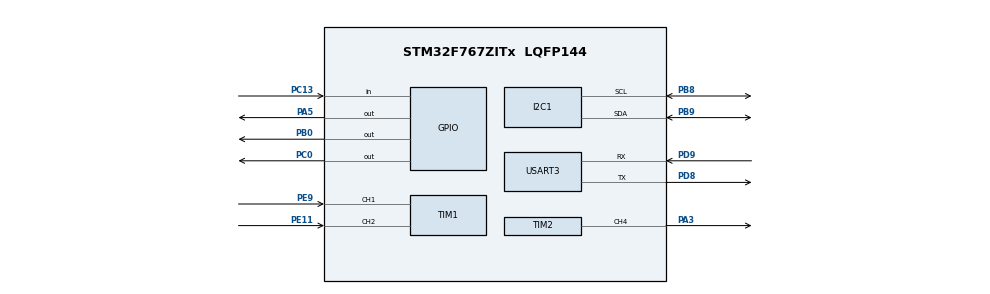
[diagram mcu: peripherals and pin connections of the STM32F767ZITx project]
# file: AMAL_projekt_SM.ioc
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Mcu.Family=STM32F7
Mcu.Name=STM32F767ZITx
Mcu.Package=LQFP144
NVIC.PriorityGroup=NVIC_PRIORITYGROUP_4
NVIC.USART3_IRQn=true\:0\:0\:false\:false\:true\:true\:true
PA3.Signal=S_TIM2_CH4
PA5.Signal=GPIO_Output
PB0.Signal=GPIO_Output
PB8.Mode=I2C
PB8.Signal=I2C1_SCL
PB9.Mode=I2C
PB9.Signal=I2C1_SDA
PC0.Signal=GPIO_Output
PC13.Signal=GPIO_Input
PD8.Mode=Asynchronous
PD8.Signal=USART3_TX
PD9.Mode=Asynchronous
PD9.Signal=USART3_RX
PE11.GPIO_PuPd=GPIO_PULLUP
PE11.Signal=S_TIM1_CH2
PE9.GPIO_PuPd=GPIO_PULLUP
PE9.Signal=S_TIM1_CH1
ProjectManager.HeapSize=0x200
ProjectManager.StackSize=0x400
ProjectManager.TargetToolchain=STM32CubeIDE
RCC.HSE_VALUE=25000000
RCC.HSI_VALUE=16000000
RCC.LSE_VALUE=32768
RCC.USBFreq_Value=96000000
RCC.VCOOutputFreq_Value=192000000
SH.S_TIM1_CH1.0=TIM1_CH1,Encoder_Interface
SH.S_TIM1_CH2.0=TIM1_CH2,Encoder_Interface
SH.S_TIM2_CH4.0=TIM2_CH4,PWM Generation4 CH4
TIM1.EncoderMode=TIM_ENCODERMODE_TI12
TIM1.IC1Filter=4
TIM1.IC2Filter=4
TIM2.Channel-PWM\ Generation4\ CH4=TIM_CHANNEL_4
TIM2.Period=30000
USART3.VirtualMode-Asynchronous=VM_ASYNC
board=custom

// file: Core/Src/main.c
/* USER CODE BEGIN Header */
/**
  ******************************************************************************
  * @file           : main.c
  * @brief          : Main program body
  ******************************************************************************
  * @attention
  *
  * Copyright (c) 2026 STMicroelectronics.
  * All rights reserved.
  *
  * This software is licensed under terms that can be found in the LICENSE file
  * in the root directory of this software component.
  * If no LICENSE file comes with this software, it is provided AS-IS.
  *
  ******************************************************************************
  */
/* USER CODE END Header */
#include "main.h"

/* USER CODE BEGIN Includes */

#include "BMPXX80.h" // I2C
#include "i2c-lcd.h"

/* USER CODE END Includes */

/* USER CODE BEGIN PD */

#define ENC_DIV 4

/* USER CODE END PD */

/* USER CODE BEGIN PM */
#define COUNTOF(_BUFFER_) (sizeof(_BUFFER_) / sizeof(*(_BUFFER_)))

/* USER CODE END PM */

I2C_HandleTypeDef hi2c1;

TIM_HandleTypeDef htim1;
TIM_HandleTypeDef htim2;

UART_HandleTypeDef huart3;

/* USER CODE BEGIN PV */

// Temp zadana
volatile int setpoint_C = 20;

// Czujnik BMP280
float temperature;
int32_t pressure;

// UART
uint8_t rxByte;

#define RX_LINE_MAX 64
char rxLine[RX_LINE_MAX];
volatile uint16_t rxLen = 0;
volatile uint8_t lineReady = 0;

// PWM i sterowanie
float time_s = 0;
float u = 0.0f; // Wymuszenie u (sygnał PWM)
volatile uint16_t duty_pwm = 0; // Wypełnienie pwm w promilach

const float Ts = 0.5f; // HAL_Delay(500)
float Kp = 0.29304f;
// float Ki = 0.0010465f;
float Ki = 0.0035f;
float Kd = 0;

float ui = 0.0f; // integrator
float e = 0.0f;	// do logowania

// User Button i wentylator
uint8_t fan = 0;
uint8_t btn_prev = 1;

// Enkoder
static int32_t enc_prev = 32768;
static int32_t enc_accum = 0;
int32_t enc_now = 0;
int32_t delta = 0;

/* USER CODE END PV */

void SystemClock_Config(void);
static void MX_GPIO_Init(void);
static void MX_I2C1_Init(void);
static void MX_USART3_UART_Init(void);
static void MX_TIM2_Init(void);
static void MX_TIM1_Init(void);

/* USER CODE BEGIN 0 */

static void PWM_SetPermille(uint16_t d)
{
    if (d > 1000) d = 1000;
    duty_pwm = d;
    u = duty_pwm / 1000.0f;  // aktualizacja u(t) do logowania

    uint32_t arr = __HAL_TIM_GET_AUTORELOAD(&htim2);  // u Ciebie 30000
    uint32_t ccr = (arr * duty_pwm) / 1000;          // np. 27000 dla 90%
    __HAL_TIM_SET_COMPARE(&htim2, TIM_CHANNEL_4, ccr);
}

static float clampf(float x, float lo, float hi)
{
    if (x < lo) return lo;
    if (x > hi) return hi;
    return x;
}

static inline int32_t clamp_i32(int32_t v, int32_t lo, int32_t hi)
{
  if (v < lo) return lo;
  if (v > hi) return hi;
  return v;
}

/* USER CODE END 0 */

int main(void)
{

  /* MCU Configuration--------------------------------------------------------*/

  /* Reset of all peripherals, Initializes the Flash interface and the Systick. */
  HAL_Init();

  /* Configure the system clock */
  SystemClock_Config();

  /* Initialize all configured peripherals */
  MX_GPIO_Init();
  MX_I2C1_Init();
  MX_USART3_UART_Init();
  MX_TIM2_Init();
  MX_TIM1_Init();
  /* USER CODE BEGIN 2 */

  BMP280_Init(&hi2c1, BMP280_TEMPERATURE_16BIT, BMP280_STANDARD, BMP280_FORCEDMODE);
  HAL_UART_Receive_IT(&huart3, &rxByte, 1);
  HAL_TIM_PWM_Start(&htim2, TIM_CHANNEL_4);
  PWM_SetPermille(0);
  HAL_GPIO_WritePin(GPIOC, GPIO_PIN_0, GPIO_PIN_RESET);
  HAL_TIM_Encoder_Start(&htim1, TIM_CHANNEL_ALL);

  /* USER CODE END 2 */

  /* Infinite loop */
  while (1)
  {

    /* USER CODE BEGIN 3 */

	  // ##### COM Receive #####
	  if (lineReady)
	  {
	      lineReady = 0;
	      int val;
	      if (sscanf(rxLine, "%d", &val) == 1)
	      {
	          if (val >= 20 && val <= 40)
	          {
	              setpoint_C = val;
	              ui = 0.0f; // reset całki
	              char ok[32];
	              int n = snprintf(ok, sizeof(ok), "OK SP=%d\r\n", setpoint_C);
	              HAL_UART_Transmit(&huart3, (uint8_t*)ok, n, 100);
	          }
	          // Wartość zadana z poza zakresu
	          else
	          {
	              const char *err = "ERROR: range 20..40\r\n";
	              HAL_UART_Transmit(&huart3, (uint8_t*)err, strlen(err), 100);
	          }
	      }
	      // Przesłane coś innego niż liczba
	      else
	      {
	          const char *err = "ERROR: send number\r\n";
	          HAL_UART_Transmit(&huart3, (uint8_t*)err, strlen(err), 100);
	      }

	      // reset bufora na następną linię
	      rxLen = 0;
	      rxLine[0] = '\0';
	  }

	  // ##### COM  Transmit  + PID #####
	  temperature = BMP280_ReadTemperature();

	  float ref = (float)setpoint_C;
	  e = ref - temperature;

	  // P
	  float up = Kp * e;

	  // I (kandydat)
	  float ui_candidate = ui + (Ki * Ts) * e;

	  // suma
	  float u_unsat = up + ui_candidate;
	  float u_sat = clampf(u_unsat, 0.0f, 1.0f);

	  // anty-windup
	  uint8_t saturated = (u_sat != u_unsat);
	  if (!saturated) {
	      ui = ui_candidate;
	  } else {
	      if (!((u_sat >= 1.0f && e > 0.0f) || (u_sat <= 0.0f && e < 0.0f))) {
	          ui = ui_candidate;
	      }
	  }
	  PWM_SetPermille((uint16_t)(u_sat * 1000.0f));	  // ustaw PWM

	  char msg[80];
	  int len = snprintf(msg, sizeof(msg),
	                     "%.1f,%.3f,%.2f,%d,%.2f\r\n",
	                     time_s, u, temperature, setpoint_C, e);
	  HAL_UART_Transmit(&huart3, (uint8_t*)msg, len, 100);

	  // #### FAN + USER BUTTON #####
	  uint8_t btn = HAL_GPIO_ReadPin(GPIOC, GPIO_PIN_13);

	  if (btn_prev == 1 && btn == 0)   // zbocze: puszczony → wciśnięty
	  {
	      fan ^= 1;
	      HAL_GPIO_WritePin(GPIOC, GPIO_PIN_0,
	                            fan ? GPIO_PIN_SET : GPIO_PIN_RESET);
	      HAL_Delay(50);
	  }
	  btn_prev = btn;

	  // #### ENKODER #####
	  enc_now = (int32_t)__HAL_TIM_GET_COUNTER(&htim1);
	  delta   = enc_now - enc_prev;

	  if (delta >  32767) delta -= 65536;
	  if (delta < -32768) delta += 65536;

	  enc_prev = enc_now;
	  enc_accum += delta;

	  while (enc_accum >= ENC_DIV) { setpoint_C++; enc_accum -= ENC_DIV; }
	  while (enc_accum <= -ENC_DIV) { setpoint_C--; enc_accum += ENC_DIV; }

	  setpoint_C = clamp_i32(setpoint_C, 20, 40);

	  // ##### Próbkowanie 0,5s #####
	  HAL_Delay(500);
	  time_s += 0.5f;

	  // ##### Ustawienie skoku u(t)*0,9 to zrobienia modelu #####
	  /*if (time_s >= 15.0f && duty_pwm == 0)
	  {
	      PWM_SetPermille(900);  // 90%
	  }*/

  }
  /* USER CODE END 3 */
}

void SystemClock_Config(void)
{
  RCC_OscInitTypeDef RCC_OscInitStruct = {0};
  RCC_ClkInitTypeDef RCC_ClkInitStruct = {0};

  /** Configure the main internal regulator output voltage
  */
  __HAL_RCC_PWR_CLK_ENABLE();
  __HAL_PWR_VOLTAGESCALING_CONFIG(PWR_REGULATOR_VOLTAGE_SCALE3);
  /** Initializes the RCC Oscillators according to the specified parameters
  * in the RCC_OscInitTypeDef structure.
  */
  RCC_OscInitStruct.OscillatorType = RCC_OSCILLATORTYPE_HSI;
  RCC_OscInitStruct.HSIState = RCC_HSI_ON;
  RCC_OscInitStruct.HSICalibrationValue = RCC_HSICALIBRATION_DEFAULT;
  RCC_OscInitStruct.PLL.PLLState = RCC_PLL_NONE;
  if (HAL_RCC_OscConfig(&RCC_OscInitStruct) != HAL_OK)
  {
    Error_Handler();
  }
  /** Initializes the CPU, AHB and APB buses clocks
  */
  RCC_ClkInitStruct.ClockType = RCC_CLOCKTYPE_HCLK|RCC_CLOCKTYPE_SYSCLK
                              |RCC_CLOCKTYPE_PCLK1|RCC_CLOCKTYPE_PCLK2;
  RCC_ClkInitStruct.SYSCLKSource = RCC_SYSCLKSOURCE_HSI;
  RCC_ClkInitStruct.AHBCLKDivider = RCC_SYSCLK_DIV1;
  RCC_ClkInitStruct.APB1CLKDivider = RCC_HCLK_DIV1;
  RCC_ClkInitStruct.APB2CLKDivider = RCC_HCLK_DIV1;

  if (HAL_RCC_ClockConfig(&RCC_ClkInitStruct, FLASH_LATENCY_0) != HAL_OK)
  {
    Error_Handler();
  }
}

static void MX_I2C1_Init(void)
{

  hi2c1.Instance = I2C1;
  hi2c1.Init.Timing = 0x00303D5B;
  hi2c1.Init.OwnAddress1 = 0;
  hi2c1.Init.AddressingMode = I2C_ADDRESSINGMODE_7BIT;
  hi2c1.Init.DualAddressMode = I2C_DUALADDRESS_DISABLE;
  hi2c1.Init.OwnAddress2 = 0;
  hi2c1.Init.OwnAddress2Masks = I2C_OA2_NOMASK;
  hi2c1.Init.GeneralCallMode = I2C_GENERALCALL_DISABLE;
  hi2c1.Init.NoStretchMode = I2C_NOSTRETCH_DISABLE;
  if (HAL_I2C_Init(&hi2c1) != HAL_OK)
  {
    Error_Handler();
  }
  /** Configure Analogue filter
  */
  if (HAL_I2CEx_ConfigAnalogFilter(&hi2c1, I2C_ANALOGFILTER_ENABLE) != HAL_OK)
  {
    Error_Handler();
  }
  /** Configure Digital filter
  */
  if (HAL_I2CEx_ConfigDigitalFilter(&hi2c1, 0) != HAL_OK)
  {
    Error_Handler();
  }

}

static void MX_TIM1_Init(void)
{

  TIM_Encoder_InitTypeDef sConfig = {0};
  TIM_MasterConfigTypeDef sMasterConfig = {0};

  htim1.Instance = TIM1;
  htim1.Init.Prescaler = 0;
  htim1.Init.CounterMode = TIM_COUNTERMODE_UP;
  htim1.Init.Period = 65535;
  htim1.Init.ClockDivision = TIM_CLOCKDIVISION_DIV1;
  htim1.Init.RepetitionCounter = 0;
  htim1.Init.AutoReloadPreload = TIM_AUTORELOAD_PRELOAD_DISABLE;
  sConfig.EncoderMode = TIM_ENCODERMODE_TI12;
  sConfig.IC1Polarity = TIM_ICPOLARITY_RISING;
  sConfig.IC1Selection = TIM_ICSELECTION_DIRECTTI;
  sConfig.IC1Prescaler = TIM_ICPSC_DIV1;
  sConfig.IC1Filter = 4;
  sConfig.IC2Polarity = TIM_ICPOLARITY_RISING;
  sConfig.IC2Selection = TIM_ICSELECTION_DIRECTTI;
  sConfig.IC2Prescaler = TIM_ICPSC_DIV1;
  sConfig.IC2Filter = 4;
  if (HAL_TIM_Encoder_Init(&htim1, &sConfig) != HAL_OK)
  {
    Error_Handler();
  }
  sMasterConfig.MasterOutputTrigger = TIM_TRGO_RESET;
  sMasterConfig.MasterOutputTrigger2 = TIM_TRGO2_RESET;
  sMasterConfig.MasterSlaveMode = TIM_MASTERSLAVEMODE_DISABLE;
  if (HAL_TIMEx_MasterConfigSynchronization(&htim1, &sMasterConfig) != HAL_OK)
  {
    Error_Handler();
  }

}

static void MX_TIM2_Init(void)
{

  TIM_MasterConfigTypeDef sMasterConfig = {0};
  TIM_OC_InitTypeDef sConfigOC = {0};

  htim2.Instance = TIM2;
  htim2.Init.Prescaler = 0;
  htim2.Init.CounterMode = TIM_COUNTERMODE_UP;
  htim2.Init.Period = 30000;
  htim2.Init.ClockDivision = TIM_CLOCKDIVISION_DIV1;
  htim2.Init.AutoReloadPreload = TIM_AUTORELOAD_PRELOAD_DISABLE;
  if (HAL_TIM_PWM_Init(&htim2) != HAL_OK)
  {
    Error_Handler();
  }
  sMasterConfig.MasterOutputTrigger = TIM_TRGO_RESET;
  sMasterConfig.MasterSlaveMode = TIM_MASTERSLAVEMODE_DISABLE;
  if (HAL_TIMEx_MasterConfigSynchronization(&htim2, &sMasterConfig) != HAL_OK)
  {
    Error_Handler();
  }
  sConfigOC.OCMode = TIM_OCMODE_PWM1;
  sConfigOC.Pulse = 0;
  sConfigOC.OCPolarity = TIM_OCPOLARITY_HIGH;
  sConfigOC.OCFastMode = TIM_OCFAST_DISABLE;
  if (HAL_TIM_PWM_ConfigChannel(&htim2, &sConfigOC, TIM_CHANNEL_4) != HAL_OK)
  {
    Error_Handler();
  }
  HAL_TIM_MspPostInit(&htim2);

}

static void MX_USART3_UART_Init(void)
{

  huart3.Instance = USART3;
  huart3.Init.BaudRate = 115200;
  huart3.Init.WordLength = UART_WORDLENGTH_8B;
  huart3.Init.StopBits = UART_STOPBITS_1;
  huart3.Init.Parity = UART_PARITY_NONE;
  huart3.Init.Mode = UART_MODE_TX_RX;
  huart3.Init.HwFlowCtl = UART_HWCONTROL_NONE;
  huart3.Init.OverSampling = UART_OVERSAMPLING_16;
  huart3.Init.OneBitSampling = UART_ONE_BIT_SAMPLE_DISABLE;
  huart3.AdvancedInit.AdvFeatureInit = UART_ADVFEATURE_NO_INIT;
  if (HAL_UART_Init(&huart3) != HAL_OK)
  {
    Error_Handler();
  }

}

static void MX_GPIO_Init(void)
{
  GPIO_InitTypeDef GPIO_InitStruct = {0};

  /* GPIO Ports Clock Enable */
  __HAL_RCC_GPIOC_CLK_ENABLE();
  __HAL_RCC_GPIOA_CLK_ENABLE();
  __HAL_RCC_GPIOB_CLK_ENABLE();
  __HAL_RCC_GPIOE_CLK_ENABLE();
  __HAL_RCC_GPIOD_CLK_ENABLE();

  /*Configure GPIO pin Output Level */
  HAL_GPIO_WritePin(GPIOC, GPIO_PIN_0, GPIO_PIN_RESET);

  /*Configure GPIO pin Output Level */
  HAL_GPIO_WritePin(GPIOA, GPIO_PIN_5, GPIO_PIN_RESET);

  /*Configure GPIO pin Output Level */
  HAL_GPIO_WritePin(GPIOB, GPIO_PIN_0, GPIO_PIN_RESET);

  /*Configure GPIO pin : PC13 */
  GPIO_InitStruct.Pin = GPIO_PIN_13;
  GPIO_InitStruct.Mode = GPIO_MODE_INPUT;
  GPIO_InitStruct.Pull = GPIO_NOPULL;
  HAL_GPIO_Init(GPIOC, &GPIO_InitStruct);

  /*Configure GPIO pin : PC0 */
  GPIO_InitStruct.Pin = GPIO_PIN_0;
  GPIO_InitStruct.Mode = GPIO_MODE_OUTPUT_PP;
  GPIO_InitStruct.Pull = GPIO_NOPULL;
  GPIO_InitStruct.Speed = GPIO_SPEED_FREQ_LOW;
  HAL_GPIO_Init(GPIOC, &GPIO_InitStruct);

  /*Configure GPIO pin : PA5 */
  GPIO_InitStruct.Pin = GPIO_PIN_5;
  GPIO_InitStruct.Mode = GPIO_MODE_OUTPUT_PP;
  GPIO_InitStruct.Pull = GPIO_NOPULL;
  GPIO_InitStruct.Speed = GPIO_SPEED_FREQ_LOW;
  HAL_GPIO_Init(GPIOA, &GPIO_InitStruct);

  /*Configure GPIO pin : PB0 */
  GPIO_InitStruct.Pin = GPIO_PIN_0;
  GPIO_InitStruct.Mode = GPIO_MODE_OUTPUT_PP;
  GPIO_InitStruct.Pull = GPIO_NOPULL;
  GPIO_InitStruct.Speed = GPIO_SPEED_FREQ_LOW;
  HAL_GPIO_Init(GPIOB, &GPIO_InitStruct);

}

/* USER CODE BEGIN 4 */

// ##### COM Receive przerwania #####
void HAL_UART_RxCpltCallback(UART_HandleTypeDef *huart)
{
    if (huart->Instance == USART3)
    {
        char c = (char)rxByte;

        if (c == '\r' || c == '\n')
        {
        	// Ignororwanie pustych enterow
            if (rxLen > 0)
            {
                rxLine[rxLen] = '\0';
                lineReady = 1;
            }
        }
        else if (!lineReady)
        {
            if (rxLen < RX_LINE_MAX - 1)
                rxLine[rxLen++] = c;
            else
                rxLen = 0; // overflow -> reset
        }

        HAL_UART_Receive_IT(&huart3, &rxByte, 1);
    }
}

/* USER CODE END 4 */

void Error_Handler(void)
{
  __disable_irq();
  while (1)
  {
  }
}
